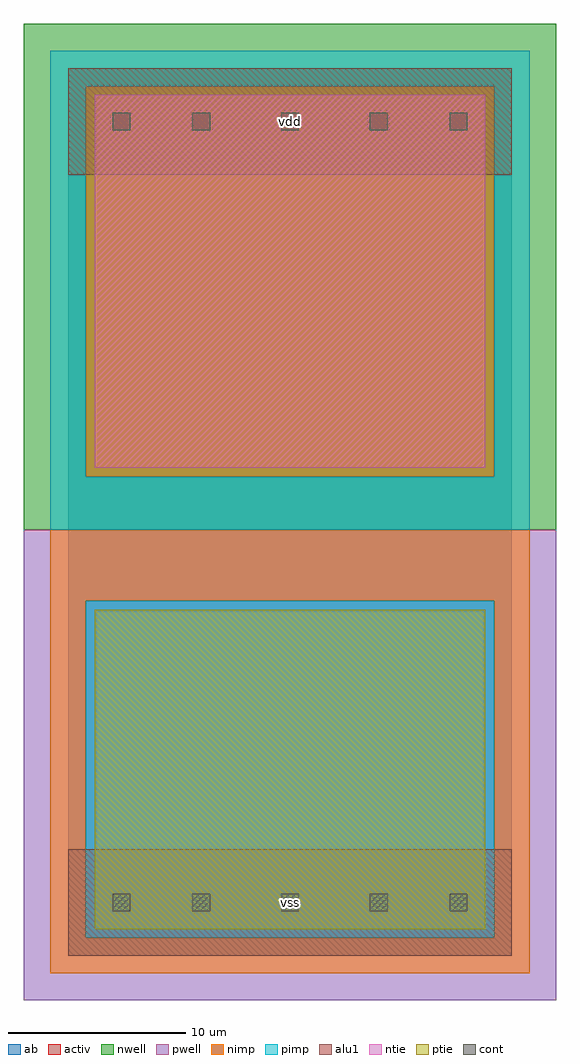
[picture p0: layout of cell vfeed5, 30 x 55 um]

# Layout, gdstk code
import gdstk
lib = gdstk.Library(unit=1e-6, precision=1e-09)
def R(c, l, rs):  # rectangles x0, y0, x1, y1
    for r in rs: c.add(gdstk.rectangle(r[:2], r[2:], *l))
def A(c, l, x, y, w, h, nx, ny, dx, dy):  # array of equal rectangles
    R(c, l, [(x+i*dx, y+j*dy, x+i*dx+w, y+j*dy+h) for i in range(nx) for j in range(ny)])
ntie = (5, 0)
ptie = (6, 0)
cont = (25, 0)
pwell = (41, 0)
nwell = (42, 0)
activ = (43, 0)
pimp = (44, 0)
nimp = (45, 0)
alu1 = (49, 0)
ab = (63, 0)

vfeed5 = lib.new_cell('vfeed5')
R(vfeed5, ntie, [(1.5,27.5,23.5,48.5)])
R(vfeed5, ptie, [(1.5,1.5,23.5,19.5)])
A(vfeed5, cont, 7, 2.5, 1, 1, 3, 2, 5, 44)
R(vfeed5, cont, [(2.5,2.5,3.5,3.5), (21.5,2.5,22.5,3.5), (2.5,46.5,3.5,47.5), (21.5,46.5,22.5,47.5)])
R(vfeed5, pwell, [(-2.5,-2.5,27.5,24)])
R(vfeed5, nwell, [(-2.5,24,27.5,52.5)])
R(vfeed5, activ, [(1.5,1.5,23.5,19.5), (1.5,27.5,23.5,48.5)])
R(vfeed5, pimp, [(1,1,24,20), (-1,24,26,27), (-1,27,1,49), (24,27,26,49), (-1,49,26,51)])
R(vfeed5, nimp, [(-1,-1,26,1), (-1,1,1,20), (24,1,26,20), (-1,20,26,24), (1,27,24,49)])
R(vfeed5, alu1, [(0,0,25,6), (0,0,25,6), (0,44,25,50), (0,44,25,50)])
R(vfeed5, ab, [(0,0,25,50)])
vfeed5.add(gdstk.Label('vss', (12.5,3), layer=49, texttype=0))
vfeed5.add(gdstk.Label('vdd', (12.5,47), layer=49, texttype=0))

lib.write_gds('vfeed5.gds')
